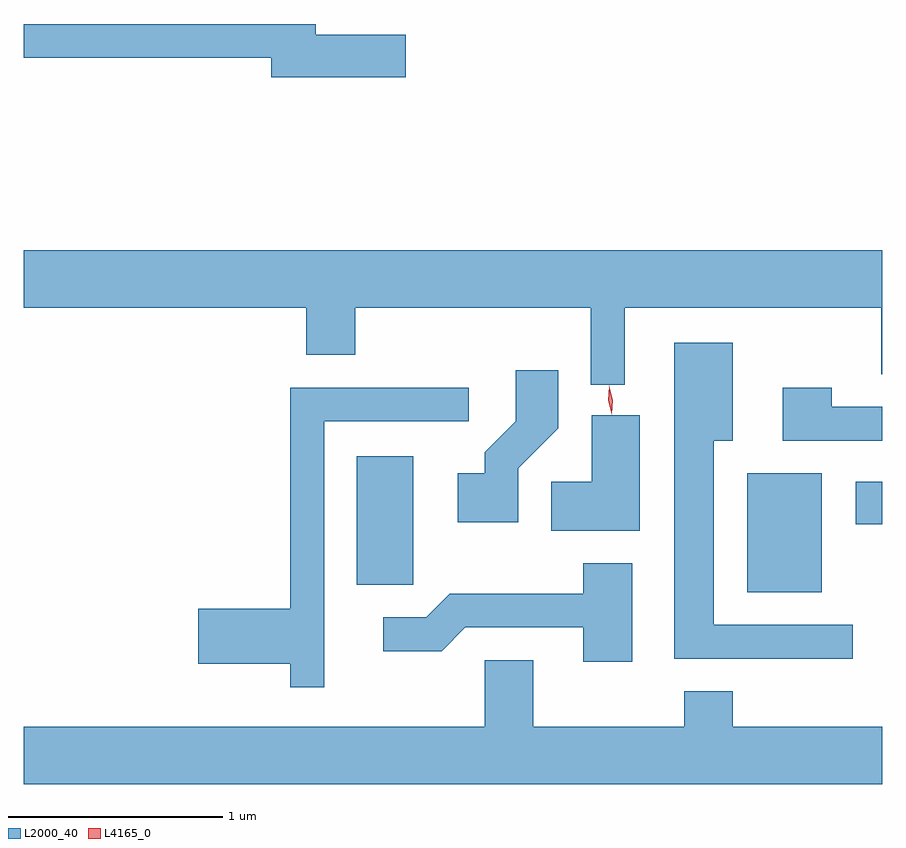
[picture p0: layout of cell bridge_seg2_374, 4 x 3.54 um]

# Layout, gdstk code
import gdstk
lib = gdstk.Library(unit=1e-6, precision=1e-09)
def R(c, l, rs):  # rectangles x0, y0, x1, y1
    for r in rs: c.add(gdstk.rectangle(r[:2], r[2:], *l))
def P(c, l, *ps):  # polygons
    for p in ps: c.add(gdstk.Polygon(p, *l))
L2000_40 = (2000, 40)
L4165_0 = (4165, 0)

bridge_seg2_374 = lib.new_cell('bridge_seg2_374')
R(bridge_seg2_374, L2000_40, [(526.436,995.931,526.784,996.484), (524.616,995.966,524.879,996.564), (526.941,996.246,527.064,996.444)])
P(bridge_seg2_374, L2000_40, [(524.844,998.529),(524.424,998.529),(524.424,998.579),(523.064,998.579),(523.064,998.421),(524.216,998.421),(524.216,998.331),(524.844,998.331)],
  [(525.864,997.256),(527.061,997.256),(527.061,996.946),(527.064,996.946),(527.064,997.524),(523.064,997.524),(523.064,997.256),(524.381,997.256),(524.381,997.036),(524.609,997.036),(524.609,997.256),(525.706,997.256),(525.706,996.898),(525.864,996.898)],
  [(526.928,995.779),(526.279,995.779),(526.279,996.636),(526.369,996.636),(526.369,997.094),(526.096,997.094),(526.096,995.621),(526.928,995.621)],
  [(525.369,996.509),(525.554,996.694),(525.554,996.964),(525.356,996.964),(525.356,996.727),(525.211,996.582),(525.211,996.484),(525.086,996.484),(525.086,996.256),(525.369,996.256)],
  [(527.064,996.794),(526.829,996.794),(526.829,996.884),(526.601,996.884),(526.601,996.636),(527.064,996.636)],
  [(524.464,996.726),(525.138,996.726),(525.138,996.884),(524.306,996.884),(524.306,995.854),(523.876,995.854),(523.876,995.596),(524.306,995.596),(524.306,995.488),(524.464,995.488)],
  [(525.934,996.754),(525.711,996.754),(525.711,996.444),(525.521,996.444),(525.521,996.216),(525.934,996.216)],
  [(525.899,996.064),(525.671,996.064),(525.671,995.924),(525.049,995.924),(524.939,995.814),(524.738,995.814),(524.738,995.656),(525.012,995.656),(525.122,995.766),(525.671,995.766),(525.671,995.606),(525.899,995.606)],
  [(527.064,995.304),(526.369,995.304),(526.369,995.469),(526.141,995.469),(526.141,995.304),(525.439,995.304),(525.439,995.614),(525.211,995.614),(525.211,995.304),(523.064,995.304),(523.064,995.036),(527.064,995.036)])
P(bridge_seg2_374, L4165_0, [(525.805,996.759),(525.804,996.76),(525.788,996.825),(525.792,996.891),(525.792,996.892),(525.792,996.891),(525.808,996.826),(525.805,996.76)])

lib.write_gds('bridge_seg2_374.gds')
